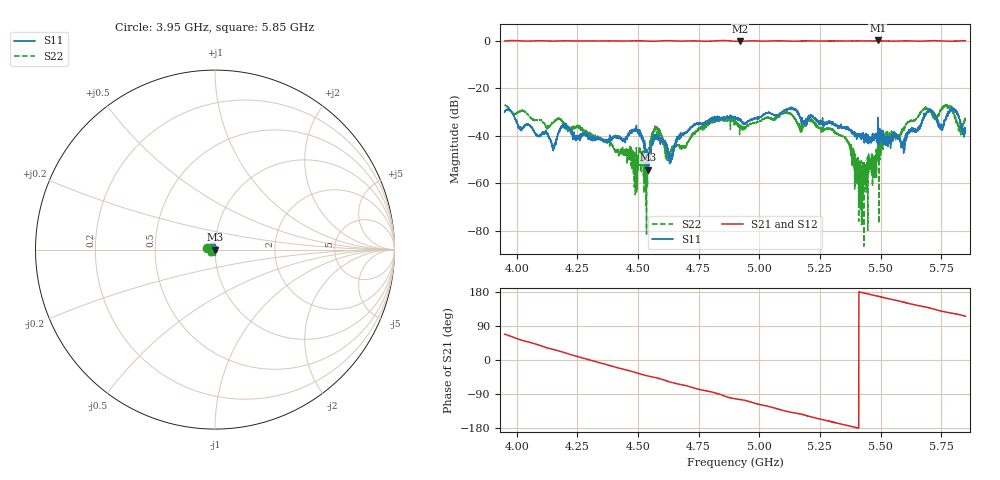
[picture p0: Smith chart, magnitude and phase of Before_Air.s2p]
# GHZ S RI R 50.000000000000
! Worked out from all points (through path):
!   4501 points, 3.95 GHz to 5.85 GHz, reference 50 ohm
!   highest |S21| = 0.10 dB at 5.489 GHz (marker M1); lowest = -0.3 dB at 4.92 GHz (marker M2)
!   group delay of S21, straight-line fit = 451 ps
!   lowest |S11| = -54.2 dB at 4.543 GHz (marker M3), VSWR 1.00, Z = 50.2 - j0.104 ohm
!   |S11| at or under -10 dB: start of sweep to end of sweep
!   |S22| runs from -86.4 to -26.9 dB; largest |S21 - S12| = 0.02
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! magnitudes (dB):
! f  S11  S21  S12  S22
! 3.95 GHz  -30.1  -0.1  -0.2  -27.0
! 4.151 GHz  -44.0  -0.1  -0.1  -34.3
! 4.195 GHz  -35.1  0.0  0.0  -35.0
! 4.267 GHz  -39.6  -0.1  -0.1  -37.4
! 4.492 GHz  -37.2  0.0  0.0  -53.2
! 4.543 GHz  -54.2  -0.2  -0.1  -52.7
! 4.559 GHz  -42.4  -0.2  -0.2  -39.7
! 4.584 GHz  -40.8  -0.1  -0.2  -37.6
! 4.623 GHz  -46.8  0.0  0.0  -49.6
! 4.734 GHz  -35.2  -0.1  -0.1  -38.9
! 4.9 GHz  -32.2  -0.2  -0.2  -33.9
! 4.92 GHz  -33.5  -0.3  -0.3  -35.9
! 5.217 GHz  -31.8  -0.1  -0.1  -34.1
! 5.358 GHz  -37.2  -0.1  -0.1  -41.1
! 5.418 GHz  -39.4  -0.1  -0.1  -54.7
! 5.489 GHz  -32.3  0.1  0.1  -38.7
! 5.534 GHz  -40.8  -0.1  -0.1  -39.4
! 5.593 GHz  -43.8  -0.1  -0.1  -37.5
! 5.701 GHz  -29.5  0.0  0.0  -29.3
! 5.749 GHz  -37.2  -0.1  -0.1  -29.0
! 5.804 GHz  -28.7  -0.2  -0.3  -31.2
! 5.85 GHz  -37.9  0.0  0.0  -33.2
